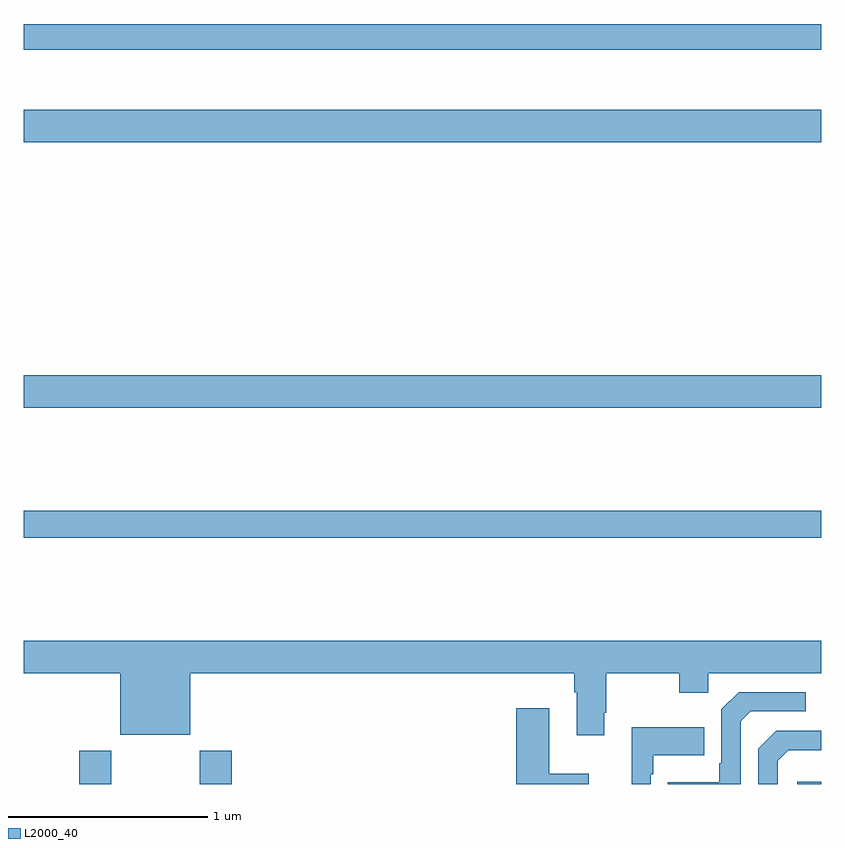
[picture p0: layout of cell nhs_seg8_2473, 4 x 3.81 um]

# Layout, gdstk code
import gdstk
lib = gdstk.Library(unit=1e-6, precision=1e-09)
def R(c, l, rs):  # rectangles x0, y0, x1, y1
    for r in rs: c.add(gdstk.rectangle(r[:2], r[2:], *l))
def P(c, l, *ps):  # polygons
    for p in ps: c.add(gdstk.Polygon(p, *l))
L2000_40 = (2000, 40)

nhs_seg8_2473 = lib.new_cell('nhs_seg8_2473')
R(nhs_seg8_2473, L2000_40, [(265.277,1159.9,265.437,1160.068), (265.882,1159.9,266.042,1160.068), (268.881,1159.9,269,1159.912), (265,1161.136,269,1161.272), (265,1161.788,269,1161.952), (265,1163.12,269,1163.284), (265,1163.586,269,1163.714)])
P(nhs_seg8_2473, L2000_40, [(265,1160.456),(265.484,1160.456),(265.484,1160.147),(265.834,1160.147),(265.834,1160.456),(267.761,1160.456),(267.761,1160.36),(267.773,1160.36),(267.773,1160.145),(267.913,1160.145),(267.913,1160.257),(267.921,1160.257),(267.921,1160.456),(268.288,1160.456),(268.288,1160.357),(268.434,1160.357),(268.434,1160.456),(269,1160.456),(269,1160.62),(265,1160.62)],
  [(268.596,1160.214),(268.647,1160.265),(268.924,1160.265),(268.924,1160.361),(268.587,1160.361),(268.5,1160.274),(268.5,1160.005),(268.488,1160.005),(268.488,1159.909),(268.231,1159.909),(268.231,1159.9),(268.596,1159.9)],
  [(267.835,1159.951),(267.637,1159.951),(267.637,1160.281),(267.47,1160.281),(267.47,1159.9),(267.835,1159.9)],
  [(268.146,1159.949),(268.159,1159.949),(268.159,1160.045),(268.415,1160.045),(268.415,1160.185),(268.049,1160.185),(268.049,1159.9),(268.146,1159.9)],
  [(268.782,1160.016),(268.835,1160.069),(269,1160.069),(269,1160.166),(268.776,1160.166),(268.686,1160.076),(268.686,1159.9),(268.782,1159.9)])

lib.write_gds('nhs_seg8_2473.gds')
